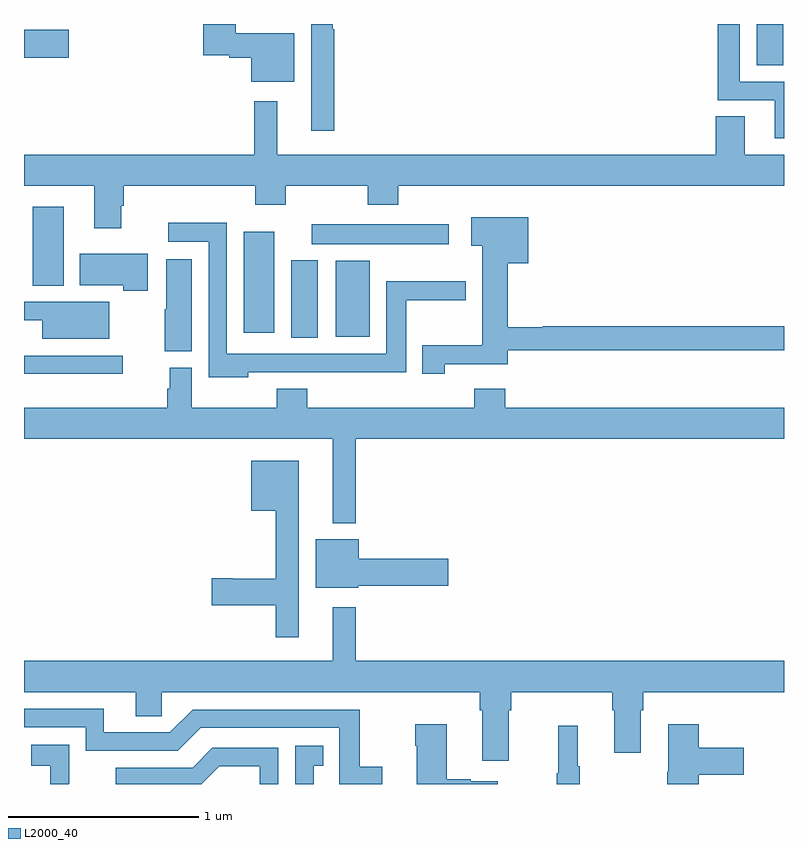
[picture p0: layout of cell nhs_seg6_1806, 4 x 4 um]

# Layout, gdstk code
import gdstk
lib = gdstk.Library(unit=1e-6, precision=1e-09)
def R(c, l, rs):  # rectangles x0, y0, x1, y1
    for r in rs: c.add(gdstk.rectangle(r[:2], r[2:], *l))
def P(c, l, *ps):  # polygons
    for p in ps: c.add(gdstk.Polygon(p, *l))
L2000_40 = (2000, 40)

nhs_seg6_1806 = lib.new_cell('nhs_seg6_1806')
R(nhs_seg6_1806, L2000_40, [(219,967.658,219.52,967.755), (220.406,967.849,220.546,968.257), (220.64,967.853,220.819,968.254), (220.157,967.875,220.318,968.407), (219.047,968.123,219.208,968.539), (220.515,968.342,221.236,968.446), (222.857,969.282,222.997,969.5), (219,969.323,219.235,969.47)])
P(nhs_seg6_1806, L2000_40, [(220.423,969.451),(220.114,969.451),(220.114,969.5),(219.944,969.5),(219.944,969.335),(220.08,969.335),(220.08,969.323),(220.196,969.323),(220.196,969.197),(220.423,969.197)],
  [(220.633,969.473),(220.625,969.473),(220.625,969.5),(220.511,969.5),(220.511,968.937),(220.633,968.937)],
  [(223,969.195),(222.768,969.195),(222.768,969.5),(222.652,969.5),(222.652,969.099),(222.95,969.099),(222.95,968.898),(223,968.898)],
  [(219.511,968.544),(219.524,968.544),(219.524,968.648),(220.217,968.648),(220.217,968.549),(220.377,968.549),(220.377,968.648),(220.81,968.648),(220.81,968.549),(220.97,968.549),(220.97,968.648),(223,968.648),(223,968.812),(222.793,968.812),(222.793,969.014),(222.641,969.014),(222.641,968.812),(220.333,968.812),(220.333,969.094),(220.212,969.094),(220.212,968.812),(219,968.812),(219,968.648),(219.371,968.648),(219.371,968.424),(219.511,968.424)],
  [(221.214,967.709),(221.546,967.709),(221.546,967.782),(223,967.782),(223,967.91),(221.729,967.91),(221.729,967.903),(221.546,967.903),(221.546,968.24),(221.653,968.24),(221.653,968.482),(221.355,968.482),(221.355,968.333),(221.411,968.333),(221.411,967.809),(221.096,967.809),(221.096,967.659),(221.214,967.659)],
  [(220.179,967.668),(220.573,967.668),(220.573,967.667),(221.011,967.667),(221.011,968.047),(221.326,968.047),(221.326,968.147),(220.907,968.147),(220.907,967.764),(220.068,967.764),(220.068,968.453),(219.759,968.453),(219.759,968.355),(219.972,968.355),(219.972,967.64),(220.179,967.64)],
  [(219.652,968.29),(219.293,968.29),(219.293,968.126),(219.523,968.126),(219.523,968.096),(219.652,968.096)],
  [(219.883,968.263),(219.749,968.263),(219.749,968),(219.742,968),(219.742,967.777),(219.883,967.777)],
  [(219.448,968.038),(219.204,968.038),(219.204,968.037),(219,968.037),(219,967.941),(219.095,967.941),(219.095,967.844),(219.448,967.844)],
  [(220.747,967.316),(223,967.316),(223,967.48),(221.534,967.48),(221.534,967.579),(221.369,967.579),(221.369,967.48),(220.49,967.48),(220.49,967.579),(220.33,967.579),(220.33,967.48),(219.883,967.48),(219.883,967.692),(219.767,967.692),(219.767,967.581),(219.755,967.581),(219.755,967.48),(219,967.48),(219,967.316),(220.625,967.316),(220.625,966.872),(220.747,966.872)],
  [(220.447,967.201),(220.196,967.201),(220.196,966.938),(220.326,966.938),(220.326,966.579),(220.099,966.579),(220.099,966.584),(219.987,966.584),(219.987,966.442),(220.326,966.442),(220.326,966.273),(220.447,966.273)],
  [(220.758,966.544),(221.233,966.544),(221.233,966.686),(220.762,966.686),(220.762,966.787),(220.535,966.787),(220.535,966.533),(220.758,966.533)],
  [(221.551,965.888),(221.564,965.888),(221.564,965.984),(222.095,965.984),(222.095,965.888),(222.107,965.888),(222.107,965.664),(222.247,965.664),(222.247,965.888),(222.26,965.888),(222.26,965.984),(223,965.984),(223,966.148),(220.747,966.148),(220.747,966.43),(220.625,966.43),(220.625,966.148),(219,966.148),(219,965.984),(219.587,965.984),(219.587,965.857),(219.726,965.857),(219.726,965.984),(221.399,965.984),(221.399,965.888),(221.411,965.888),(221.411,965.622),(221.551,965.622)],
  [(220.886,965.59),(220.768,965.59),(220.768,965.892),(219.888,965.892),(219.768,965.772),(219.421,965.772),(219.421,965.895),(219,965.895),(219,965.799),(219.324,965.799),(219.324,965.676),(219.81,965.676),(219.93,965.796),(220.659,965.796),(220.659,965.5),(220.886,965.5)],
  [(222.551,965.549),(222.787,965.549),(222.787,965.691),(222.551,965.691),(222.551,965.815),(222.392,965.815),(222.392,965.565),(222.385,965.565),(222.385,965.5),(222.551,965.5)],
  [(221.494,965.515),(221.351,965.515),(221.351,965.525),(221.224,965.525),(221.224,965.815),(221.059,965.815),(221.059,965.702),(221.066,965.702),(221.066,965.5),(221.494,965.5)],
  [(221.926,965.593),(221.915,965.593),(221.915,965.806),(221.812,965.806),(221.812,965.556),(221.805,965.556),(221.805,965.5),(221.926,965.5)],
  [(219.236,965.501),(219.237,965.501),(219.237,965.707),(219.039,965.707),(219.039,965.597),(219.137,965.597),(219.137,965.5),(219.236,965.5)],
  [(220.525,965.595),(220.574,965.595),(220.574,965.701),(220.428,965.701),(220.428,965.5),(220.525,965.5)],
  [(220.028,965.594),(220.242,965.594),(220.242,965.5),(220.338,965.5),(220.338,965.691),(219.992,965.691),(219.887,965.586),(219.484,965.586),(219.484,965.5),(219.934,965.5)])

lib.write_gds('nhs_seg6_1806.gds')
